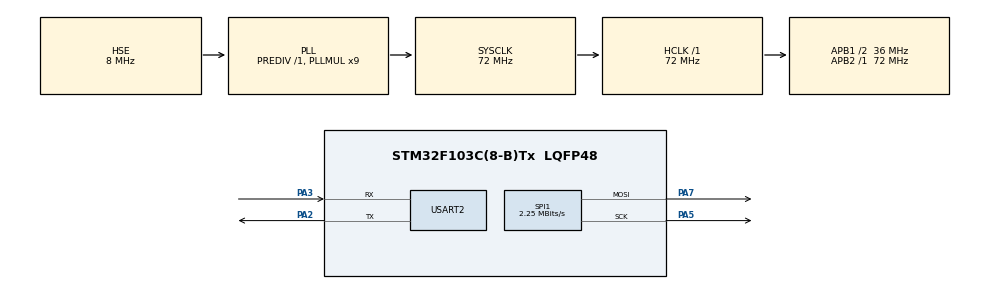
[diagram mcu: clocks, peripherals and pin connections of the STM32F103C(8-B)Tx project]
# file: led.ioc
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Dma.Request0=SPI1_TX
Dma.SPI1_TX.0.Direction=DMA_MEMORY_TO_PERIPH
Dma.SPI1_TX.0.Instance=DMA1_Channel3
Dma.SPI1_TX.0.MemDataAlignment=DMA_MDATAALIGN_BYTE
Dma.SPI1_TX.0.MemInc=DMA_MINC_ENABLE
Dma.SPI1_TX.0.Mode=DMA_NORMAL
Dma.SPI1_TX.0.PeriphDataAlignment=DMA_PDATAALIGN_BYTE
Dma.SPI1_TX.0.PeriphInc=DMA_PINC_DISABLE
Dma.SPI1_TX.0.Priority=DMA_PRIORITY_HIGH
Mcu.Family=STM32F1
Mcu.Name=STM32F103C(8-B)Tx
Mcu.Package=LQFP48
NVIC.DMA1_Channel3_IRQn=true\:0\:0\:false\:false\:true\:false
NVIC.PriorityGroup=NVIC_PRIORITYGROUP_4
PA13.Mode=Serial_Wire
PA13.Signal=SYS_JTMS-SWDIO
PA14.Mode=Serial_Wire
PA14.Signal=SYS_JTCK-SWCLK
PA2.Mode=Asynchronous
PA2.Signal=USART2_TX
PA3.Mode=Asynchronous
PA3.Signal=USART2_RX
PA5.Mode=TX_Only_Simplex_Unidirect_Master
PA5.Signal=SPI1_SCK
PA7.Mode=TX_Only_Simplex_Unidirect_Master
PA7.Signal=SPI1_MOSI
PD0-OSC_IN.Mode=HSE-External-Oscillator
PD0-OSC_IN.Signal=RCC_OSC_IN
PD1-OSC_OUT.Mode=HSE-External-Oscillator
PD1-OSC_OUT.Signal=RCC_OSC_OUT
ProjectManager.HeapSize=0x200
ProjectManager.StackSize=0x400
ProjectManager.TargetToolchain=SW4STM32
RCC.AHBFreq_Value=72000000
RCC.APB1CLKDivider=RCC_HCLK_DIV2
RCC.APB1Freq_Value=36000000
RCC.APB1TimFreq_Value=72000000
RCC.APB2Freq_Value=72000000
RCC.APB2TimFreq_Value=72000000
RCC.HCLKFreq_Value=72000000
RCC.PLLMUL=RCC_PLL_MUL9
RCC.PLLSourceVirtual=RCC_PLLSOURCE_HSE
RCC.SYSCLKFreq_VALUE=72000000
RCC.SYSCLKSource=RCC_SYSCLKSOURCE_PLLCLK
RCC.USBFreq_Value=72000000
SPI1.BaudRatePrescaler=SPI_BAUDRATEPRESCALER_32
SPI1.CalculateBaudRate=2.25 MBits/s
SPI1.Direction=SPI_DIRECTION_2LINES
SPI1.Mode=SPI_MODE_MASTER
SPI1.VirtualType=VM_MASTER
USART2.VirtualMode=VM_ASYNC
board=led

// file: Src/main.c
/**
  ******************************************************************************
  * @file           : main.c
  * @brief          : Main program body
  ******************************************************************************
  ** This notice applies to any and all portions of this file
  * that are not between comment pairs USER CODE BEGIN and
  * USER CODE END. Other portions of this file, whether
  * inserted by the user or by software development tools
  * are owned by their respective copyright owners.
  *
  * COPYRIGHT(c) 2018 STMicroelectronics
  *
  * Redistribution and use in source and binary forms, with or without modification,
  * are permitted provided that the following conditions are met:
  *   1. Redistributions of source code must retain the above copyright notice,
  *      this list of conditions and the following disclaimer.
  *   2. Redistributions in binary form must reproduce the above copyright notice,
  *      this list of conditions and the following disclaimer in the documentation
  *      and/or other materials provided with the distribution.
  *   3. Neither the name of STMicroelectronics nor the names of its contributors
  *      may be used to endorse or promote products derived from this software
  *      without specific prior written permission.
  *
  * THIS SOFTWARE IS PROVIDED BY THE COPYRIGHT HOLDERS AND CONTRIBUTORS "AS IS"
  * AND ANY EXPRESS OR IMPLIED WARRANTIES, INCLUDING, BUT NOT LIMITED TO, THE
  * IMPLIED WARRANTIES OF MERCHANTABILITY AND FITNESS FOR A PARTICULAR PURPOSE ARE
  * DISCLAIMED. IN NO EVENT SHALL THE COPYRIGHT HOLDER OR CONTRIBUTORS BE LIABLE
  * FOR ANY DIRECT, INDIRECT, INCIDENTAL, SPECIAL, EXEMPLARY, OR CONSEQUENTIAL
  * DAMAGES (INCLUDING, BUT NOT LIMITED TO, PROCUREMENT OF SUBSTITUTE GOODS OR
  * SERVICES; LOSS OF USE, DATA, OR PROFITS; OR BUSINESS INTERRUPTION) HOWEVER
  * CAUSED AND ON ANY THEORY OF LIABILITY, WHETHER IN CONTRACT, STRICT LIABILITY,
  * OR TORT (INCLUDING NEGLIGENCE OR OTHERWISE) ARISING IN ANY WAY OUT OF THE USE
  * OF THIS SOFTWARE, EVEN IF ADVISED OF THE POSSIBILITY OF SUCH DAMAGE.
  *
  ******************************************************************************
  */
#include "main.h"
#include "stm32f1xx_hal.h"
#include "dma.h"
#include "spi.h"
#include "usart.h"
#include "gpio.h"

/* USER CODE BEGIN Includes */
#include <string.h>
#include <bitmap/bitmap.h>
#include <stdio.h>
#include <stdlib.h>
#include "effects/rainbow.h"
#include "effects/running_lights.h"
/* USER CODE END Includes */

/* USER CODE BEGIN PV */
/* Private variables ---------------------------------------------------------*/

/* USER CODE END PV */

void SystemClock_Config(void);

/* USER CODE BEGIN PFP */
/* Private function prototypes -----------------------------------------------*/
void clear(uint8_t *data);
void set(uint8_t *data, uint16_t index, RGB_t *color);
void paint(uint8_t *pData, uint16_t size);
void paintRGB(RGB_t *pData, uint16_t size);
void paintHSV(HSV_t *pData, uint16_t size);
uint32_t bswap_32(uint32_t x);
/* USER CODE END PFP */

/* USER CODE BEGIN 0 */

#define LED_COUNT (120)
#define LED_DATA_SIZE (LED_COUNT * 9)

HSV_t leds[LED_COUNT];
uint8_t data[LED_DATA_SIZE /*+ (9 * 1)*/ + 4];
/* USER CODE END 0 */

int main(void)
{

  /* MCU Configuration----------------------------------------------------------*/

  /* Reset of all peripherals, Initializes the Flash interface and the Systick. */
  HAL_Init();

  /* Configure the system clock */
  SystemClock_Config();

  /* Initialize all configured peripherals */
  MX_GPIO_Init();
  MX_DMA_Init();
  MX_USART2_UART_Init();
  MX_SPI1_Init();
  /* USER CODE BEGIN 2 */
  unsigned int effect = 0;

  memset(leds, 0, sizeof(HSV_t) * LED_COUNT);

  union Effect {
	  RainbowCtx rainbow;
	  RunningLightsCtx runningLights;
  };

  union Effect context = {0};

  /* USER CODE END 2 */

  /* Infinite loop */
  /* USER CODE BEGIN WHILE */
  while (1)
  {
	  srand(HAL_GetTick());

	  uint32_t delay = 0;

	  uint32_t effectDuration = (60 + rand() % (60 * 10)) * 1000;
	  uint32_t tickstart = HAL_GetTick();
	  while ((HAL_GetTick() - tickstart) < effectDuration) {
		  switch (effect) {
		  case 12:
		  case 6:
		  case 0:
			  rainbow(&context.rainbow, 1, leds, LED_COUNT);
			  delay = context.rainbow.delay;
			  break;
		  case 13:
		  case 7:
		  case 1:
			  rainbow(&context.rainbow, 2, leds, LED_COUNT);
			  delay = context.rainbow.delay;
			  break;
		  case 14:
		  case 8:
		  case 2:
			  rainbow(&context.rainbow, 3, leds, LED_COUNT);
			  delay = context.rainbow.delay;
			  break;
		  case 15:
		  case 16:
		  case 17:
		  case 9:
		  case 10:
		  case 11:
		  case 3:
		  case 4:
		  case 5:
			  running_lights(&context.runningLights, leds, LED_COUNT);
			  delay = context.runningLights.delay;
			  break;
		  default:
			  effectDuration = 0;
		  }

		  HAL_Delay(delay);
		  paintHSV(leds, LED_COUNT);
	  }

	  unsigned int nextEffect = rand() % 18;
	  if (effect != nextEffect) {
		  memset(&context, 0, sizeof(context));
	  }
	  effect = nextEffect;

  /* USER CODE END WHILE */

  }

}

void SystemClock_Config(void)
{

  RCC_OscInitTypeDef RCC_OscInitStruct;
  RCC_ClkInitTypeDef RCC_ClkInitStruct;

    /**Initializes the CPU, AHB and APB busses clocks
    */
  RCC_OscInitStruct.OscillatorType = RCC_OSCILLATORTYPE_HSE;
  RCC_OscInitStruct.HSEState = RCC_HSE_ON;
  RCC_OscInitStruct.HSEPredivValue = RCC_HSE_PREDIV_DIV1;
  RCC_OscInitStruct.HSIState = RCC_HSI_ON;
  RCC_OscInitStruct.PLL.PLLState = RCC_PLL_ON;
  RCC_OscInitStruct.PLL.PLLSource = RCC_PLLSOURCE_HSE;
  RCC_OscInitStruct.PLL.PLLMUL = RCC_PLL_MUL9;
  if (HAL_RCC_OscConfig(&RCC_OscInitStruct) != HAL_OK)
  {
    _Error_Handler(__FILE__, __LINE__);
  }

    /**Initializes the CPU, AHB and APB busses clocks
    */
  RCC_ClkInitStruct.ClockType = RCC_CLOCKTYPE_HCLK|RCC_CLOCKTYPE_SYSCLK
                              |RCC_CLOCKTYPE_PCLK1|RCC_CLOCKTYPE_PCLK2;
  RCC_ClkInitStruct.SYSCLKSource = RCC_SYSCLKSOURCE_PLLCLK;
  RCC_ClkInitStruct.AHBCLKDivider = RCC_SYSCLK_DIV1;
  RCC_ClkInitStruct.APB1CLKDivider = RCC_HCLK_DIV2;
  RCC_ClkInitStruct.APB2CLKDivider = RCC_HCLK_DIV1;

  if (HAL_RCC_ClockConfig(&RCC_ClkInitStruct, FLASH_LATENCY_2) != HAL_OK)
  {
    _Error_Handler(__FILE__, __LINE__);
  }

    /**Configure the Systick interrupt time
    */
  HAL_SYSTICK_Config(HAL_RCC_GetHCLKFreq()/1000);

    /**Configure the Systick
    */
  HAL_SYSTICK_CLKSourceConfig(SYSTICK_CLKSOURCE_HCLK);

  /* SysTick_IRQn interrupt configuration */
  HAL_NVIC_SetPriority(SysTick_IRQn, 0, 0);
}

/* USER CODE BEGIN 4 */
#define WS2812B_USE_GAMMA_CORRECTION
#define WS2812B_USE_PRECALCULATED_GAMMA_TABLE

#ifdef WS2812B_USE_GAMMA_CORRECTION
#ifdef WS2812B_USE_PRECALCULATED_GAMMA_TABLE
static const uint8_t LEDGammaTable[] = { 0, 0, 0, 0, 0, 0, 0, 0, 0, 0, 0, 0, 1, 1, 1, 1, 1, 1, 1, 1,
    2, 2, 2, 2, 2, 2, 3, 3, 3, 3, 4, 4, 4, 4, 5, 5, 5, 5, 6, 6, 6, 7, 7, 7, 8, 8, 8, 9, 9, 9, 10,
    10, 11, 11, 11, 12, 12, 13, 13, 14, 14, 15, 15, 16, 16, 17, 17, 18, 18, 19, 19, 20, 20, 21, 21,
    22, 23, 23, 24, 24, 25, 26, 26, 27, 28, 28, 29, 30, 30, 31, 32, 32, 33, 34, 35, 35, 36, 37, 38,
    38, 39, 40, 41, 42, 42, 43, 44, 45, 46, 47, 47, 48, 49, 50, 51, 52, 53, 54, 55, 56, 56, 57, 58,
    59, 60, 61, 62, 63, 64, 65, 66, 67, 68, 69, 70, 71, 73, 74, 75, 76, 77, 78, 79, 80, 81, 82, 84,
    85, 86, 87, 88, 89, 91, 92, 93, 94, 95, 97, 98, 99, 100, 102, 103, 104, 105, 107, 108, 109, 111,
    112, 113, 115, 116, 117, 119, 120, 121, 123, 124, 126, 127, 128, 130, 131, 133, 134, 136, 137,
    139, 140, 142, 143, 145, 146, 148, 149, 151, 152, 154, 155, 157, 158, 160, 162, 163, 165, 166,
    168, 170, 171, 173, 175, 176, 178, 180, 181, 183, 185, 186, 188, 190, 192, 193, 195, 197, 199,
    200, 202, 204, 206, 207, 209, 211, 213, 215, 217, 218, 220, 222, 224, 226, 228, 230, 232, 233,
    235, 237, 239, 241, 243, 245, 247, 249, 251, 253, 255 };
#endif
#endif

static inline uint8_t LEDGamma(uint8_t v)
{
#ifdef WS2812B_USE_GAMMA_CORRECTION
#ifdef WS2812B_USE_PRECALCULATED_GAMMA_TABLE
    return LEDGammaTable[v];
#else
    return (v * v + v) >> 8;
#endif
#else
    return v;
#endif
}

void paintHSV(HSV_t *pData, uint16_t size) {

	while (HAL_SPI_GetState(&hspi1) != HAL_SPI_STATE_READY) {
		printf("*");
		HAL_Delay(1);
	}

	for (uint16_t i = 0; i < size; i++) {
		RGB_t rgb;

		HSV2RGB(&pData[i], &rgb);

		set(data, i, &rgb);
	}

//	for (uint16_t i = size; i < size + 1; i++) {
//		*((uint32_t*) (data + i * 9 + 3 * 0)) = 0;
//		*((uint32_t*) (data + i * 9 + 3 * 1)) = 0;
//		*((uint32_t*) (data + i * 9 + 3 * 2)) = 0;
//	}

	paint(data, LED_DATA_SIZE + (9 * 3));
}

void paintRGB(RGB_t *pData, uint16_t size) {

	for (uint16_t i = 0; i < size; i++) {
		set(data, i, &pData[i]);
	}

	paint(data, LED_DATA_SIZE);
}

void paint(uint8_t *pData, uint16_t size) {

	while (HAL_SPI_GetState(&hspi1) != HAL_SPI_STATE_READY) {
		printf("*");
		HAL_Delay(1);
	}

	if (HAL_SPI_Transmit_DMA(&hspi1, pData, size) != HAL_OK) {
		printf("SPI failed! \n");
	}

}

void clear(uint8_t *data) {
  for (int i = 0; i < LED_DATA_SIZE; i += 3) {
	  *((uint32_t*) (data + i)) = 0x244992;
  }
}

void set(uint8_t *data, uint16_t index, RGB_t *color) {

	uint8_t _r = LEDGamma(color->r);
	uint8_t _g = LEDGamma(color->g);
	uint8_t _b = LEDGamma(color->b);

	uint32_t R = ((0x00000004 | (((_r >> 0) & 0x1) << 1)) << (3 * 0 + 8))
			| ((0x00000004 | (((_r >> 1) & 0x1) << 1)) << (3 * 1 + 8))
			| ((0x00000004 | (((_r >> 2) & 0x1) << 1)) << (3 * 2 + 8))
			| ((0x00000004 | (((_r >> 3) & 0x1) << 1)) << (3 * 3 + 8))
			| ((0x00000004 | (((_r >> 4) & 0x1) << 1)) << (3 * 4 + 8))
			| ((0x00000004 | (((_r >> 5) & 0x1) << 1)) << (3 * 5 + 8))
			| ((0x00000004 | (((_r >> 6) & 0x1) << 1)) << (3 * 6 + 8))
			| ((0x00000004 | (((_r >> 7) & 0x1) << 1)) << (3 * 7 + 8));

	uint32_t G = ((0x00000004 | (((_g >> 0) & 0x1) << 1)) << (3 * 0 + 8))
			| ((0x00000004 | (((_g >> 1) & 0x1) << 1)) << (3 * 1 + 8))
			| ((0x00000004 | (((_g >> 2) & 0x1) << 1)) << (3 * 2 + 8))
			| ((0x00000004 | (((_g >> 3) & 0x1) << 1)) << (3 * 3 + 8))
			| ((0x00000004 | (((_g >> 4) & 0x1) << 1)) << (3 * 4 + 8))
			| ((0x00000004 | (((_g >> 5) & 0x1) << 1)) << (3 * 5 + 8))
			| ((0x00000004 | (((_g >> 6) & 0x1) << 1)) << (3 * 6 + 8))
			| ((0x00000004 | (((_g >> 7) & 0x1) << 1)) << (3 * 7 + 8));

	uint32_t B = ((0x00000004 | (((_b >> 0) & 0x1) << 1)) << (3 * 0 + 8))
			| ((0x00000004 | (((_b >> 1) & 0x1) << 1)) << (3 * 1 + 8))
			| ((0x00000004 | (((_b >> 2) & 0x1) << 1)) << (3 * 2 + 8))
			| ((0x00000004 | (((_b >> 3) & 0x1) << 1)) << (3 * 3 + 8))
			| ((0x00000004 | (((_b >> 4) & 0x1) << 1)) << (3 * 4 + 8))
			| ((0x00000004 | (((_b >> 5) & 0x1) << 1)) << (3 * 5 + 8))
			| ((0x00000004 | (((_b >> 6) & 0x1) << 1)) << (3 * 6 + 8))
			| ((0x00000004 | (((_b >> 7) & 0x1) << 1)) << (3 * 7 + 8));

//	*((uint32_t*) (data + index * 9 + 3 * 0)) |= bswap_32(G);
//	*((uint32_t*) (data + index * 9 + 3 * 1)) |= bswap_32(R);
//	*((uint32_t*) (data + index * 9 + 3 * 2)) |= bswap_32(B);

	*((uint32_t*) (data + index * 9 + 3 * 0)) = bswap_32(G);
	*((uint32_t*) (data + index * 9 + 3 * 1)) = bswap_32(R);
	*((uint32_t*) (data + index * 9 + 3 * 2)) = bswap_32(B);
}

uint32_t bswap_32(uint32_t x) {
	uint32_t t = x;
	uint32_t s;
	s = ((((uint32_t) (t) & (uint32_t) 0x000000ffUL) << 24)
			| (((uint32_t) (t) & (uint32_t) 0x0000ff00UL) << 8)
			| (((uint32_t) (t) & (uint32_t) 0x00ff0000UL) >> 8)
			| (((uint32_t) (t) & (uint32_t) 0xff000000UL) >> 24));
	return s;
}

void __io_putchar(uint8_t ch) {
	/**
	 * \brief		__io_putchar - A routine to transmit a single character out the serial port
	 * \return		void
	 * \param[in]	ch - uint8_t the character to transmit
	 * \author		andreichichak
	 * \date		Oct 16, 2015
	 * \details		This routine assumes that we will be using UART2. A timeout value of 1ms (4th parameter)
	 * 				gives a retry if the transmit buffer is full when back to back characters are transmitted,
	 * 				avoiding dropping characters.
	 */

	HAL_UART_Transmit(&huart2, &ch, 1, 1);
}
/* USER CODE END 4 */

void _Error_Handler(char *file, int line)
{
  while(1)
  {
  }
}

/************************ (C) COPYRIGHT STMicroelectronics *****END OF FILE****/
